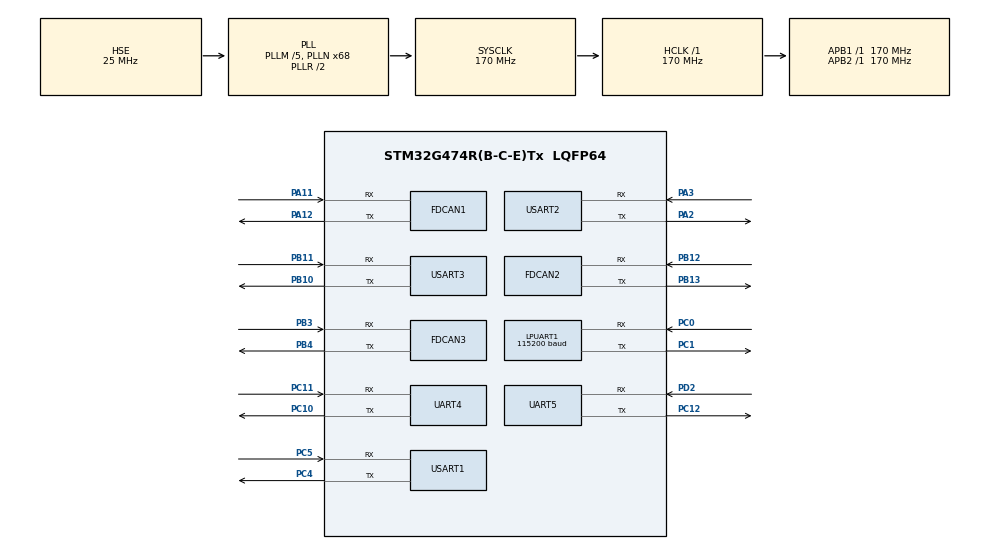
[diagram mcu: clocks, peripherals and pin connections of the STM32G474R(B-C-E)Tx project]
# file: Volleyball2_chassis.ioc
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Dma.LPUART1_RX.2.Direction=DMA_PERIPH_TO_MEMORY
Dma.LPUART1_RX.2.EventEnable=DISABLE
Dma.LPUART1_RX.2.Instance=DMA1_Channel5
Dma.LPUART1_RX.2.MemDataAlignment=DMA_MDATAALIGN_BYTE
Dma.LPUART1_RX.2.MemInc=DMA_MINC_ENABLE
Dma.LPUART1_RX.2.Mode=DMA_NORMAL
Dma.LPUART1_RX.2.PeriphDataAlignment=DMA_PDATAALIGN_BYTE
Dma.LPUART1_RX.2.PeriphInc=DMA_PINC_DISABLE
Dma.LPUART1_RX.2.Polarity=HAL_DMAMUX_REQ_GEN_RISING
Dma.LPUART1_RX.2.Priority=DMA_PRIORITY_LOW
Dma.LPUART1_RX.2.RequestNumber=1
Dma.LPUART1_RX.2.SignalID=NONE
Dma.LPUART1_RX.2.SyncEnable=DISABLE
Dma.LPUART1_RX.2.SyncPolarity=HAL_DMAMUX_SYNC_NO_EVENT
Dma.LPUART1_RX.2.SyncRequestNumber=1
Dma.LPUART1_RX.2.SyncSignalID=NONE
Dma.LPUART1_TX.3.Direction=DMA_MEMORY_TO_PERIPH
Dma.LPUART1_TX.3.EventEnable=DISABLE
Dma.LPUART1_TX.3.Instance=DMA1_Channel6
Dma.LPUART1_TX.3.MemDataAlignment=DMA_MDATAALIGN_BYTE
Dma.LPUART1_TX.3.MemInc=DMA_MINC_ENABLE
Dma.LPUART1_TX.3.Mode=DMA_NORMAL
Dma.LPUART1_TX.3.PeriphDataAlignment=DMA_PDATAALIGN_BYTE
Dma.LPUART1_TX.3.PeriphInc=DMA_PINC_DISABLE
Dma.LPUART1_TX.3.Polarity=HAL_DMAMUX_REQ_GEN_RISING
Dma.LPUART1_TX.3.Priority=DMA_PRIORITY_LOW
Dma.LPUART1_TX.3.RequestNumber=1
Dma.LPUART1_TX.3.SignalID=NONE
Dma.LPUART1_TX.3.SyncEnable=DISABLE
Dma.LPUART1_TX.3.SyncPolarity=HAL_DMAMUX_SYNC_NO_EVENT
Dma.LPUART1_TX.3.SyncRequestNumber=1
Dma.LPUART1_TX.3.SyncSignalID=NONE
Dma.Request0=USART1_RX
Dma.Request1=USART1_TX
Dma.Request2=LPUART1_RX
Dma.Request3=LPUART1_TX
Dma.Request4=UART5_RX
Dma.Request5=USART3_RX
Dma.Request6=USART3_TX
Dma.UART5_RX.4.Direction=DMA_PERIPH_TO_MEMORY
Dma.UART5_RX.4.EventEnable=DISABLE
Dma.UART5_RX.4.Instance=DMA1_Channel1
Dma.UART5_RX.4.MemDataAlignment=DMA_MDATAALIGN_BYTE
Dma.UART5_RX.4.MemInc=DMA_MINC_ENABLE
Dma.UART5_RX.4.Mode=DMA_NORMAL
Dma.UART5_RX.4.PeriphDataAlignment=DMA_PDATAALIGN_BYTE
Dma.UART5_RX.4.PeriphInc=DMA_PINC_DISABLE
Dma.UART5_RX.4.Polarity=HAL_DMAMUX_REQ_GEN_RISING
Dma.UART5_RX.4.Priority=DMA_PRIORITY_LOW
Dma.UART5_RX.4.RequestNumber=1
Dma.UART5_RX.4.SignalID=NONE
Dma.UART5_RX.4.SyncEnable=DISABLE
Dma.UART5_RX.4.SyncPolarity=HAL_DMAMUX_SYNC_NO_EVENT
Dma.UART5_RX.4.SyncRequestNumber=1
Dma.UART5_RX.4.SyncSignalID=NONE
Dma.USART1_RX.0.Direction=DMA_PERIPH_TO_MEMORY
Dma.USART1_RX.0.EventEnable=DISABLE
Dma.USART1_RX.0.Instance=DMA1_Channel3
Dma.USART1_RX.0.MemDataAlignment=DMA_MDATAALIGN_BYTE
Dma.USART1_RX.0.MemInc=DMA_MINC_ENABLE
Dma.USART1_RX.0.Mode=DMA_NORMAL
Dma.USART1_RX.0.PeriphDataAlignment=DMA_PDATAALIGN_BYTE
Dma.USART1_RX.0.PeriphInc=DMA_PINC_DISABLE
Dma.USART1_RX.0.Polarity=HAL_DMAMUX_REQ_GEN_RISING
Dma.USART1_RX.0.Priority=DMA_PRIORITY_LOW
Dma.USART1_RX.0.RequestNumber=1
Dma.USART1_RX.0.SignalID=NONE
Dma.USART1_RX.0.SyncEnable=DISABLE
Dma.USART1_RX.0.SyncPolarity=HAL_DMAMUX_SYNC_NO_EVENT
Dma.USART1_RX.0.SyncRequestNumber=1
Dma.USART1_RX.0.SyncSignalID=NONE
Dma.USART1_TX.1.Direction=DMA_MEMORY_TO_PERIPH
Dma.USART1_TX.1.EventEnable=DISABLE
Dma.USART1_TX.1.Instance=DMA1_Channel4
Dma.USART1_TX.1.MemDataAlignment=DMA_MDATAALIGN_BYTE
Dma.USART1_TX.1.MemInc=DMA_MINC_ENABLE
Dma.USART1_TX.1.Mode=DMA_NORMAL
Dma.USART1_TX.1.PeriphDataAlignment=DMA_PDATAALIGN_BYTE
Dma.USART1_TX.1.PeriphInc=DMA_PINC_DISABLE
Dma.USART1_TX.1.Polarity=HAL_DMAMUX_REQ_GEN_RISING
Dma.USART1_TX.1.Priority=DMA_PRIORITY_LOW
Dma.USART1_TX.1.RequestNumber=1
Dma.USART1_TX.1.SignalID=NONE
Dma.USART1_TX.1.SyncEnable=DISABLE
Dma.USART1_TX.1.SyncPolarity=HAL_DMAMUX_SYNC_NO_EVENT
Dma.USART1_TX.1.SyncRequestNumber=1
Dma.USART1_TX.1.SyncSignalID=NONE
Dma.USART3_RX.5.Direction=DMA_PERIPH_TO_MEMORY
Dma.USART3_RX.5.EventEnable=DISABLE
Dma.USART3_RX.5.Instance=DMA1_Channel2
Dma.USART3_RX.5.MemDataAlignment=DMA_MDATAALIGN_BYTE
Dma.USART3_RX.5.MemInc=DMA_MINC_ENABLE
Dma.USART3_RX.5.Mode=DMA_NORMAL
Dma.USART3_RX.5.PeriphDataAlignment=DMA_PDATAALIGN_BYTE
Dma.USART3_RX.5.PeriphInc=DMA_PINC_DISABLE
Dma.USART3_RX.5.Polarity=HAL_DMAMUX_REQ_GEN_RISING
Dma.USART3_RX.5.Priority=DMA_PRIORITY_LOW
Dma.USART3_RX.5.RequestNumber=1
Dma.USART3_RX.5.SignalID=NONE
Dma.USART3_RX.5.SyncEnable=DISABLE
Dma.USART3_RX.5.SyncPolarity=HAL_DMAMUX_SYNC_NO_EVENT
Dma.USART3_RX.5.SyncRequestNumber=1
Dma.USART3_RX.5.SyncSignalID=NONE
Dma.USART3_TX.6.Direction=DMA_MEMORY_TO_PERIPH
Dma.USART3_TX.6.EventEnable=DISABLE
Dma.USART3_TX.6.Instance=DMA1_Channel7
Dma.USART3_TX.6.MemDataAlignment=DMA_MDATAALIGN_BYTE
Dma.USART3_TX.6.MemInc=DMA_MINC_ENABLE
Dma.USART3_TX.6.Mode=DMA_NORMAL
Dma.USART3_TX.6.PeriphDataAlignment=DMA_PDATAALIGN_BYTE
Dma.USART3_TX.6.PeriphInc=DMA_PINC_DISABLE
Dma.USART3_TX.6.Polarity=HAL_DMAMUX_REQ_GEN_RISING
Dma.USART3_TX.6.Priority=DMA_PRIORITY_LOW
Dma.USART3_TX.6.RequestNumber=1
Dma.USART3_TX.6.SignalID=NONE
Dma.USART3_TX.6.SyncEnable=DISABLE
Dma.USART3_TX.6.SyncPolarity=HAL_DMAMUX_SYNC_NO_EVENT
Dma.USART3_TX.6.SyncRequestNumber=1
Dma.USART3_TX.6.SyncSignalID=NONE
FDCAN1.CalculateBaudRateNominal=1000000
FDCAN1.CalculateTimeBitNominal=1000
FDCAN1.CalculateTimeQuantumNominal=100.0
FDCAN1.DataPrescaler=8
FDCAN1.DataTimeSeg1=10
FDCAN1.DataTimeSeg2=5
FDCAN1.NominalPrescaler=17
FDCAN1.NominalTimeSeg1=6
FDCAN1.NominalTimeSeg2=3
FDCAN2.CalculateBaudRateNominal=1000000
FDCAN2.CalculateTimeBitNominal=1000
FDCAN2.CalculateTimeQuantumNominal=100.0
FDCAN2.DataPrescaler=8
FDCAN2.DataTimeSeg1=10
FDCAN2.DataTimeSeg2=5
FDCAN2.NominalPrescaler=17
FDCAN2.NominalTimeSeg1=6
FDCAN2.NominalTimeSeg2=3
FDCAN3.CalculateBaudRateNominal=1000000
FDCAN3.CalculateTimeBitNominal=1000
FDCAN3.CalculateTimeQuantumNominal=100.0
FDCAN3.DataPrescaler=8
FDCAN3.DataTimeSeg1=10
FDCAN3.DataTimeSeg2=5
FDCAN3.NominalPrescaler=17
FDCAN3.NominalTimeSeg1=6
FDCAN3.NominalTimeSeg2=3
LPUART1.BaudRate=115200
Mcu.Family=STM32G4
Mcu.Name=STM32G474R(B-C-E)Tx
Mcu.Package=LQFP64
NVIC.DMA1_Channel1_IRQn=true\:0\:0\:false\:false\:true\:false\:true\:true
NVIC.DMA1_Channel2_IRQn=true\:0\:0\:false\:false\:true\:false\:true\:true
NVIC.DMA1_Channel3_IRQn=true\:0\:0\:false\:false\:true\:false\:true\:true
NVIC.DMA1_Channel4_IRQn=true\:0\:0\:false\:false\:true\:false\:true\:true
NVIC.DMA1_Channel5_IRQn=true\:0\:0\:false\:false\:true\:false\:true\:true
NVIC.DMA1_Channel6_IRQn=true\:0\:0\:false\:false\:true\:false\:true\:true
NVIC.DMA1_Channel7_IRQn=true\:0\:0\:false\:false\:true\:false\:true\:true
NVIC.FDCAN1_IT0_IRQn=true\:0\:0\:false\:false\:true\:true\:true\:true
NVIC.FDCAN1_IT1_IRQn=true\:0\:0\:false\:false\:true\:true\:true\:true
NVIC.FDCAN2_IT0_IRQn=true\:0\:0\:false\:false\:true\:true\:true\:true
NVIC.FDCAN2_IT1_IRQn=true\:0\:0\:false\:false\:true\:true\:true\:true
NVIC.FDCAN3_IT0_IRQn=true\:0\:0\:false\:false\:true\:true\:true\:true
NVIC.FDCAN3_IT1_IRQn=true\:0\:0\:false\:false\:true\:true\:true\:true
NVIC.LPUART1_IRQn=true\:0\:0\:false\:false\:true\:true\:true\:true
NVIC.PriorityGroup=NVIC_PRIORITYGROUP_4
NVIC.UART4_IRQn=true\:0\:0\:false\:false\:true\:true\:true\:true
NVIC.UART5_IRQn=true\:0\:0\:false\:false\:true\:true\:true\:true
NVIC.USART1_IRQn=true\:0\:0\:false\:false\:true\:true\:true\:true
NVIC.USART2_IRQn=true\:0\:0\:false\:false\:true\:true\:true\:true
NVIC.USART3_IRQn=true\:0\:0\:false\:false\:true\:true\:true\:true
PA11.Mode=FDCAN_Activate
PA11.Signal=FDCAN1_RX
PA12.Mode=FDCAN_Activate
PA12.Signal=FDCAN1_TX
PA13.Mode=Serial_Wire
PA13.Signal=SYS_JTMS-SWDIO
PA14.Mode=Serial_Wire
PA14.Signal=SYS_JTCK-SWCLK
PA2.Mode=Asynchronous
PA2.Signal=USART2_TX
PA3.Mode=Asynchronous
PA3.Signal=USART2_RX
PB10.Mode=Asynchronous
PB10.Signal=USART3_TX
PB11.Mode=Asynchronous
PB11.Signal=USART3_RX
PB12.Mode=FDCAN_Activate
PB12.Signal=FDCAN2_RX
PB13.Mode=FDCAN_Activate
PB13.Signal=FDCAN2_TX
PB3.Mode=FDCAN_Activate
PB3.Signal=FDCAN3_RX
PB4.Mode=FDCAN_Activate
PB4.Signal=FDCAN3_TX
PC0.Mode=Asynchronous
PC0.Signal=LPUART1_RX
PC1.Mode=Asynchronous
PC1.Signal=LPUART1_TX
PC10.Mode=Asynchronous
PC10.Signal=UART4_TX
PC11.Mode=Asynchronous
PC11.Signal=UART4_RX
PC12.Mode=Asynchronous
PC12.Signal=UART5_TX
PC4.Mode=Asynchronous
PC4.Signal=USART1_TX
PC5.Mode=Asynchronous
PC5.Signal=USART1_RX
PD2.Mode=Asynchronous
PD2.Signal=UART5_RX
PF0-OSC_IN.Mode=HSE-External-Oscillator
PF0-OSC_IN.Signal=RCC_OSC_IN
PF1-OSC_OUT.Mode=HSE-External-Oscillator
PF1-OSC_OUT.Signal=RCC_OSC_OUT
ProjectManager.HeapSize=0x400
ProjectManager.StackSize=0x800
ProjectManager.TargetToolchain=MDK-ARM V5.32
RCC.ADC12Freq_Value=170000000
RCC.ADC345Freq_Value=170000000
RCC.AHBFreq_Value=170000000
RCC.APB1Freq_Value=170000000
RCC.APB1TimFreq_Value=170000000
RCC.APB2Freq_Value=170000000
RCC.APB2TimFreq_Value=170000000
RCC.CortexFreq_Value=170000000
RCC.EXTERNAL_CLOCK_VALUE=12288000
RCC.HCLKFreq_Value=170000000
RCC.HSE_VALUE=25000000
RCC.HSI48_VALUE=48000000
RCC.HSI_VALUE=16000000
RCC.LSE_VALUE=32768
RCC.PLLM=RCC_PLLM_DIV5
RCC.PLLN=68
RCC.PLLSourceVirtual=RCC_PLLSOURCE_HSE
RCC.SYSCLKFreq_VALUE=170000000
RCC.SYSCLKSource=RCC_SYSCLKSOURCE_PLLCLK
RCC.USBFreq_Value=170000000
RCC.VCOOutputFreq_Value=340000000
USART1.VirtualMode-Asynchronous=VM_ASYNC
USART2.VirtualMode-Asynchronous=VM_ASYNC
USART3.VirtualMode-Asynchronous=VM_ASYNC
VP_SYS_VS_DBSignals.Mode=DisableDeadBatterySignals
board=custom

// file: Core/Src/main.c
/* USER CODE BEGIN Header */
/**
  ******************************************************************************
  * @file           : main.c
  * @brief          : Main program body
  ******************************************************************************
  * @attention
  *
  * Copyright (c) 2026 STMicroelectronics.
  * All rights reserved.
  *
  * This software is licensed under terms that can be found in the LICENSE file
  * in the root directory of this software component.
  * If no LICENSE file comes with this software, it is provided AS-IS.
  *
  ******************************************************************************
  */
/* USER CODE END Header */
#include "main.h"
#include "dma.h"
#include "fdcan.h"
#include "usart.h"
#include "gpio.h"

/* USER CODE BEGIN Includes */
#include "fdcan_bsp.h"
#include "chassis_task.h"
#include "control.h"    // 包含 STEERING_GEAR_RATIO
#include "dji_motor.h"
#include "vesc.h"
#include <stdio.h>
#include <math.h>
/* USER CODE END Includes */

void SystemClock_Config(void);
/* USER CODE BEGIN PFP */
uint32_t time[4]={0};
float i = 0.0f;
int fputc(int ch, FILE *f)
{
	HAL_UART_Transmit(&huart4,(uint8_t *)&ch,1,HAL_MAX_DELAY );
	return ch;
}
/* USER CODE END PFP */

int main(void)
{

  /* MCU Configuration--------------------------------------------------------*/

  /* Reset of all peripherals, Initializes the Flash interface and the Systick. */
  HAL_Init();

  /* Configure the system clock */
  SystemClock_Config();

  /* Initialize all configured peripherals */
  MX_GPIO_Init();
  MX_DMA_Init();
  MX_FDCAN1_Init();
  MX_FDCAN2_Init();
  MX_FDCAN3_Init();
  MX_UART5_Init();
  MX_USART1_UART_Init();
  MX_USART2_UART_Init();
  MX_USART3_UART_Init();
  MX_LPUART1_UART_Init();
  MX_UART4_Init();
  /* USER CODE BEGIN 2 */
/* USER CODE BEGIN 2 */
  // 1. 初始化底盘相关 PID 参数 (关键修复)
  Pid_parameter_init();
	HAL_Delay(4000);
  // 2. 初始化 BSP 和 协议层
  fdcan_bsp_init();

  // 3. 开启 CAN 硬件
  fdcan_bsp_start(&hfdcan1);
  fdcan_bsp_start(&hfdcan2);
  fdcan_bsp_start(&hfdcan3);

  dji_motors_init(); // 初始化 3 个 DJI 电机
  Vesc_init();
  Chassis_Init();

  uint32_t test_timer = 0;
  int state = 0;
  time[0] = HAL_GetTick();
  time[1] = HAL_GetTick(); // 建议加上初始赋值
  /* USER CODE END 2 */

  /* Infinite loop */
  while (1)
  {

    /* USER CODE BEGIN 3 */
		time[0] = HAL_GetTick();
    // 可选：周期性打印调试信息
    if(time[0] - time[1] > 1) {
      Chassis_Task_Loop();
      time[1] = time[0];
    }
		else if (time[0]-time[2]>100)
		{
			printf("%d",dji_motor_get_instance(2)->measure.angle);
		}
		/* USER CODE END 3 */
}
}
void SystemClock_Config(void)
{
  RCC_OscInitTypeDef RCC_OscInitStruct = {0};
  RCC_ClkInitTypeDef RCC_ClkInitStruct = {0};

  /** Configure the main internal regulator output voltage
  */
  HAL_PWREx_ControlVoltageScaling(PWR_REGULATOR_VOLTAGE_SCALE1_BOOST);

  /** Initializes the RCC Oscillators according to the specified parameters
  * in the RCC_OscInitTypeDef structure.
  */
  RCC_OscInitStruct.OscillatorType = RCC_OSCILLATORTYPE_HSE;
  RCC_OscInitStruct.HSEState = RCC_HSE_ON;
  RCC_OscInitStruct.PLL.PLLState = RCC_PLL_ON;
  RCC_OscInitStruct.PLL.PLLSource = RCC_PLLSOURCE_HSE;
  RCC_OscInitStruct.PLL.PLLM = RCC_PLLM_DIV5;
  RCC_OscInitStruct.PLL.PLLN = 68;
  RCC_OscInitStruct.PLL.PLLP = RCC_PLLP_DIV2;
  RCC_OscInitStruct.PLL.PLLQ = RCC_PLLQ_DIV2;
  RCC_OscInitStruct.PLL.PLLR = RCC_PLLR_DIV2;
  if (HAL_RCC_OscConfig(&RCC_OscInitStruct) != HAL_OK)
  {
    Error_Handler();
  }

  /** Initializes the CPU, AHB and APB buses clocks
  */
  RCC_ClkInitStruct.ClockType = RCC_CLOCKTYPE_HCLK|RCC_CLOCKTYPE_SYSCLK
                              |RCC_CLOCKTYPE_PCLK1|RCC_CLOCKTYPE_PCLK2;
  RCC_ClkInitStruct.SYSCLKSource = RCC_SYSCLKSOURCE_PLLCLK;
  RCC_ClkInitStruct.AHBCLKDivider = RCC_SYSCLK_DIV1;
  RCC_ClkInitStruct.APB1CLKDivider = RCC_HCLK_DIV1;
  RCC_ClkInitStruct.APB2CLKDivider = RCC_HCLK_DIV1;

  if (HAL_RCC_ClockConfig(&RCC_ClkInitStruct, FLASH_LATENCY_4) != HAL_OK)
  {
    Error_Handler();
  }
}

void Error_Handler(void)
{
  __disable_irq();
  while (1)
  {
  }
}
